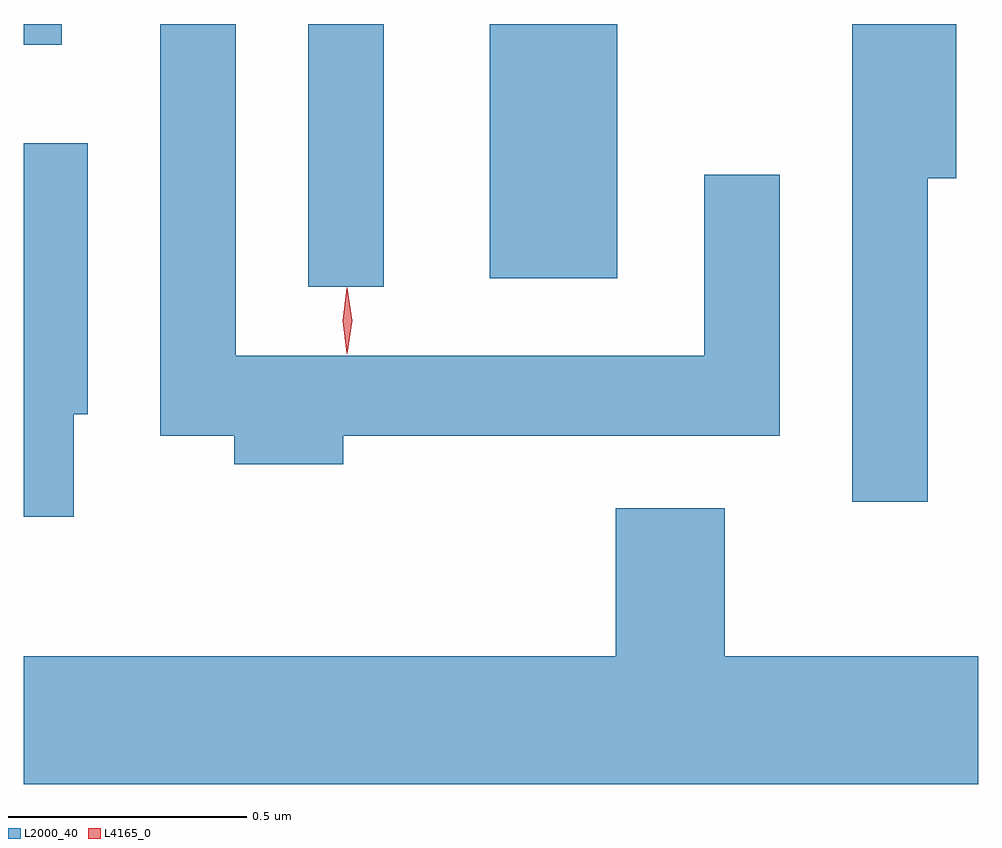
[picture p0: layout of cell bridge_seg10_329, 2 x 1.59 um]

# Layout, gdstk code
import gdstk
lib = gdstk.Library(unit=1e-6, precision=1e-09)
def R(c, l, rs):  # rectangles x0, y0, x1, y1
    for r in rs: c.add(gdstk.rectangle(r[:2], r[2:], *l))
def P(c, l, *ps):  # polygons
    for p in ps: c.add(gdstk.Polygon(p, *l))
L2000_40 = (2000, 40)
L4165_0 = (4165, 0)

bridge_seg10_329 = lib.new_cell('bridge_seg10_329')
R(bridge_seg10_329, L2000_40, [(1419.226,2214.858,1419.384,2215.409), (1419.606,2214.876,1419.874,2215.409), (1418.63,2215.366,1418.709,2215.409)])
P(bridge_seg10_329, L2000_40, [(1420.524,2215.086),(1420.584,2215.086),(1420.584,2215.409),(1420.366,2215.409),(1420.366,2214.408),(1420.524,2214.408)],
  [(1419.299,2214.546),(1420.214,2214.546),(1420.214,2215.093),(1420.056,2215.093),(1420.056,2214.714),(1419.074,2214.714),(1419.074,2215.409),(1418.916,2215.409),(1418.916,2214.546),(1419.071,2214.546),(1419.071,2214.486),(1419.299,2214.486)],
  [(1418.734,2214.591),(1418.764,2214.591),(1418.764,2215.159),(1418.63,2215.159),(1418.63,2214.376),(1418.734,2214.376)],
  [(1420.63,2214.084),(1420.099,2214.084),(1420.099,2214.394),(1419.871,2214.394),(1419.871,2214.084),(1418.63,2214.084),(1418.63,2213.816),(1420.63,2213.816)])
P(bridge_seg10_329, L4165_0, [(1419.308,2214.717),(1419.307,2214.718),(1419.298,2214.787),(1419.307,2214.856),(1419.308,2214.856),(1419.308,2214.856),(1419.318,2214.787),(1419.308,2214.718)])

lib.write_gds('bridge_seg10_329.gds')
